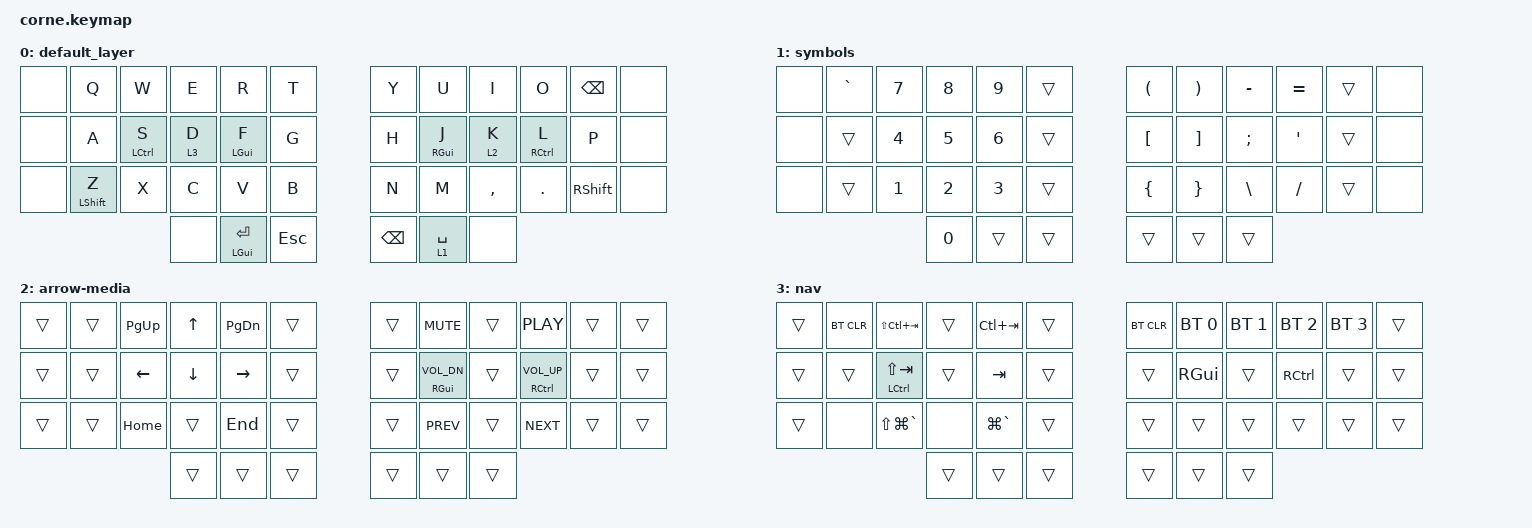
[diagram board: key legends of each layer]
/*
 * Copyright (c) 2020 The ZMK Contributors
 *
 * SPDX-License-Identifier: MIT
 */

#include <behaviors.dtsi>
#include <dt-bindings/zmk/bt.h>
#include <dt-bindings/zmk/keys.h>

&led_strip {
    chain-length = <27>;
};

&mt {
    tapping-term-ms = <170>;
    quick_tap_ms = <0>;
    flavor = "tap-preferred";
};

&lt {
    tapping-term-ms = <170>;
    quick_tap_ms = <0>;
    flavor = "tap-preferred";
};

/ {
    keymap {
        compatible = "zmk,keymap";

        default_layer {
            // -----------------------------------------------------------------------------------------
            // |      |  Q  |  W  |  E  |  R  |  T  |   |  Y  |  U   |  I  |  O  |  P  |      |
            // |      |  A  |  S  |  D  |  F  |  G  |   |  H  |  J   |  K  |  L  |  ;  |      |
            // |      |  Z  |  X  |  C  |  V  |  B  |   |  N  |  M   |  ,  |  .  |  /  |      |
            //                    | GUI | LWR | SPC |   | ENT | RSE  | ALT |

            bindings = <
&none  &kp Q        &kp W        &kp E    &kp R               &kp T         &kp Y          &kp U            &kp I      &kp O        &kp BACKSPACE    &none
&none  &kp A        &mt LCTRL S  &lt 3 D  &mt LEFT_GUI F      &kp G         &kp H          &mt RIGHT_GUI J  &lt 2 K    &mt RCTRL L  &kp P            &none
&none  &mt LSHFT Z  &kp X        &kp C    &kp V               &kp B         &kp N          &kp M            &kp COMMA  &kp DOT      &kp RIGHT_SHIFT  &none
                                 &none    &mt LEFT_GUI ENTER  &kp ESCAPE    &kp BACKSPACE  &lt 1 SPACE      &none
            >;
        };

        symbols {
            // -----------------------------------------------------------------------------------------
            // |      |  !  |  @  |  #  |  $  |  %  |   |  ^  |  &  |  *  |  (  |  )  |      |
            // |      |     |     |     |     |     |   |  -  |  =  |  [  |  ]  |  \  |      |
            // |      |     |     |     |     |     |   |  _  |  +  |  {  |  }  | "|" |      |
            //                    | GUI |     | SPC |   | ENT |     | ALT |

            bindings = <
&none  &kp GRAVE  &kp N7  &kp N8  &kp N9  &trans    &kp LEFT_PARENTHESIS  &kp RIGHT_PARENTHESIS  &kp MINUS  &kp EQUAL  &trans  &none
&none  &trans     &kp N4  &kp N5  &kp N6  &trans    &kp LBKT              &kp RBKT               &kp SEMI   &kp SQT    &trans  &none
&none  &trans     &kp N1  &kp N2  &kp N3  &trans    &kp LEFT_BRACE        &kp RIGHT_BRACE        &kp BSLH   &kp FSLH   &trans  &none
                          &kp N0  &trans  &trans    &trans                &trans                 &trans
            >;
        };

        arrow-media {
            bindings = <
&trans  &trans  &kp PG_UP  &kp UP    &kp PG_DN  &trans    &trans  &kp K_MUTE              &trans  &kp C_PLAY             &trans  &trans
&trans  &trans  &kp LEFT   &kp DOWN  &kp RIGHT  &trans    &trans  &mt RIGHT_GUI C_VOL_DN  &trans  &mt RCTRL C_VOLUME_UP  &trans  &trans
&trans  &trans  &kp HOME   &trans    &kp END    &trans    &trans  &kp C_PREV              &trans  &kp C_NEXT             &trans  &trans
                           &trans    &trans     &trans    &trans  &trans                  &trans
            >;
        };

        nav {
            bindings = <
&trans  &bt BT_CLR  &kp LS(LC(TAB))    &trans  &kp LC(TAB)    &trans    &bt BT_CLR  &bt BT_SEL 0   &bt BT_SEL 1  &bt BT_SEL 2  &bt BT_SEL 3  &trans
&trans  &trans      &mt LCTRL LS(TAB)  &trans  &kp TAB        &trans    &trans      &kp RIGHT_GUI  &trans        &kp RCTRL     &trans        &trans
&trans  &none       &kp LS(LG(GRAVE))  &none   &kp LG(GRAVE)  &trans    &trans      &trans         &trans        &trans        &trans        &trans
                                       &trans  &trans         &trans    &trans      &trans         &trans
            >;
        };
    };
};
